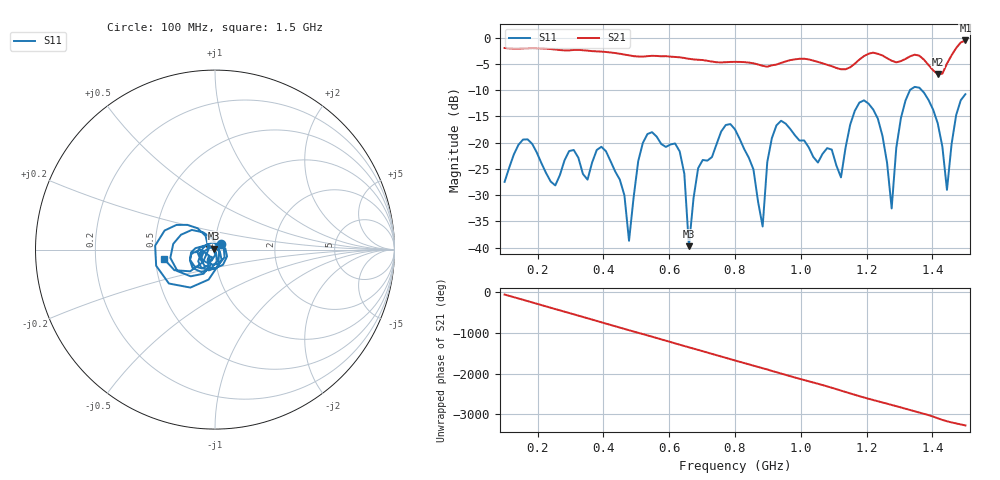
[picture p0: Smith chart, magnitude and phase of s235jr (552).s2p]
! NanoVNA-App
! Date: 2025-09-25 15:08:27
! Start: 100MHz Stop: 1,5GHz Points: 101
! S-Parameter data: F S11 S21 S12 S22
# Hz S RI R 50
!  Frequency  S11_Real  S11_Imag  S21_Real  S21_Imag  S12_Real  S12_Imag  S22_Real  S22_Imag
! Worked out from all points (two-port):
!   101 points, 100 MHz to 1.5 GHz, reference 50 ohm
!   highest |S21| = -0.52 dB at 1.5 GHz (marker M1); lowest = -6.9 dB at 1.416 GHz (marker M2)
!   |S21| within 3 dB of the highest: start of sweep to 493.9 MHz; 1.191 GHz to 1.252 GHz (60.3 MHz wide, 4.94 % of centre) (the widest 2 of 6)
!   lowest |S11| = -39.7 dB at 660 MHz (marker M3), VSWR 1.02, Z = 49.2 + j0.599 ohm
!   |S11| at or under -10 dB: start of sweep to 1.332 GHz; 1.367 GHz to end of sweep
!   S12 and S22 are empty: the file has one direction only
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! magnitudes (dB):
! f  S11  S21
! 100 MHz  -27.5  -2.0
! 156 MHz  -19.4  -2.0
! 338 MHz  -26.0  -2.4
! 408 MHz  -21.6  -2.7
! 478 MHz  -38.7  -3.4
! 520 MHz  -20.1  -3.6
! 576 MHz  -20.3  -3.5
! 632 MHz  -21.7  -3.7
! 660 MHz  -39.7  -4.0
! 688 MHz  -24.9  -4.2
! 800 MHz  -17.5  -4.6
! 884 MHz  -36.0  -5.3
! 926 MHz  -16.7  -5.1
! 1.038 GHz  -22.7  -4.4
! 1.122 GHz  -26.6  -6.0
! 1.192 GHz  -11.9  -3.5
! 1.248 GHz  -18.7  -3.4
! 1.276 GHz  -32.5  -4.4
! 1.332 GHz  -9.9  -3.5
! 1.416 GHz  -16.3  -6.9
! 1.444 GHz  -29.0  -4.9
! 1.5 GHz  -10.8  -0.5
